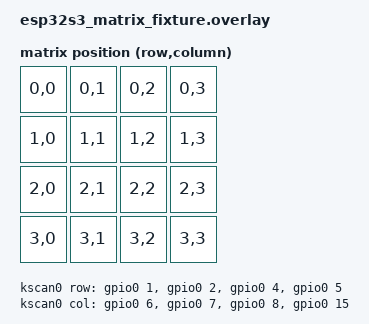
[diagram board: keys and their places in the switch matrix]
/*
 * Copyright (c) 2026 The ZMK Contributors
 *
 * SPDX-License-Identifier: MIT
 */

#include <dt-bindings/zmk/matrix_transform.h>
#include <physical_layouts.dtsi>

/ {
    chosen {
        zmk,kscan = &kscan0;
        zmk,physical-layout = &physical_layout0;
    };

    kscan0: kscan0 {
        compatible = "zmk,kscan-gpio-matrix";
        diode-direction = "row2col";

        row-gpios
            = <&gpio0 1 GPIO_ACTIVE_HIGH>
            , <&gpio0 2 GPIO_ACTIVE_HIGH>
            , <&gpio0 4 GPIO_ACTIVE_HIGH>
            , <&gpio0 5 GPIO_ACTIVE_HIGH>
            ;

        col-gpios
            = <&gpio0 6  (GPIO_ACTIVE_HIGH | GPIO_PULL_DOWN)>
            , <&gpio0 7  (GPIO_ACTIVE_HIGH | GPIO_PULL_DOWN)>
            , <&gpio0 8  (GPIO_ACTIVE_HIGH | GPIO_PULL_DOWN)>
            , <&gpio0 15 (GPIO_ACTIVE_HIGH | GPIO_PULL_DOWN)>
            ;
    };

    default_transform: keymap_transform0 {
        compatible = "zmk,matrix-transform";
        columns = <4>;
        rows = <4>;
        map = <
            RC(0,0) RC(0,1) RC(0,2) RC(0,3)
            RC(1,0) RC(1,1) RC(1,2) RC(1,3)
            RC(2,0) RC(2,1) RC(2,2) RC(2,3)
            RC(3,0) RC(3,1) RC(3,2) RC(3,3)
        >;
    };

    physical_layout0: physical_layout_0 {
        compatible = "zmk,physical-layout";
        display-name = "Default Layout";
        transform = <&default_transform>;
        keys  //  w   h    x    y    rot   rx   ry
            = <&key_physical_attrs 100 100    0    0       0     0     0>
            , <&key_physical_attrs 100 100  100    0       0     0     0>
            , <&key_physical_attrs 100 100  200    0       0     0     0>
            , <&key_physical_attrs 100 100  300    0       0     0     0>

            , <&key_physical_attrs 100 100    0  100       0     0     0>
            , <&key_physical_attrs 100 100  100  100       0     0     0>
            , <&key_physical_attrs 100 100  200  100       0     0     0>
            , <&key_physical_attrs 100 100  300  100       0     0     0>

            , <&key_physical_attrs 100 100    0  200       0     0     0>
            , <&key_physical_attrs 100 100  100  200       0     0     0>
            , <&key_physical_attrs 100 100  200  200       0     0     0>
            , <&key_physical_attrs 100 100  300  200       0     0     0>

            , <&key_physical_attrs 100 100    0  300       0     0     0>
            , <&key_physical_attrs 100 100  100  300       0     0     0>
            , <&key_physical_attrs 100 100  200  300       0     0     0>
            , <&key_physical_attrs 100 100  300  300       0     0     0>
            ;
    };
};
